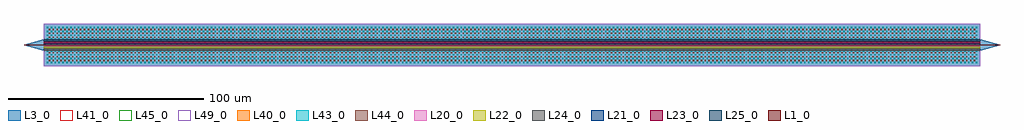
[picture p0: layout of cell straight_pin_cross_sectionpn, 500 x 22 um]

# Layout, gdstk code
from math import pi, radians
import gdstk
lib = gdstk.Library(unit=1e-6, precision=1e-09)
def R(c, l, rs):  # rectangles x0, y0, x1, y1
    for r in rs: c.add(gdstk.rectangle(r[:2], r[2:], *l))
def P(c, l, *ps):  # polygons
    for p in ps: c.add(gdstk.Polygon(p, *l))
L1_0 = (1, 0)
L3_0 = (3, 0)
L20_0 = (20, 0)
L21_0 = (21, 0)
L22_0 = (22, 0)
L23_0 = (23, 0)
L24_0 = (24, 0)
L25_0 = (25, 0)
L40_0 = (40, 0)
L41_0 = (41, 0)
L43_0 = (43, 0)
L44_0 = (44, 0)
L45_0 = (45, 0)
L49_0 = (49, 0)

straight_cross_sectionp_ = lib.new_cell('straight_cross_sectionp_dc3acd5e')
R(straight_cross_sectionp_, L1_0, [(0,-0.25,480,0.25)])
R(straight_cross_sectionp_, L3_0, [(0,-3,480,3)])
R(straight_cross_sectionp_, L20_0, [(0,-1,480,0)])
R(straight_cross_sectionp_, L21_0, [(0,0,480,1)])
R(straight_cross_sectionp_, L22_0, [(0,-2,480,-1)])
R(straight_cross_sectionp_, L23_0, [(0,1,480,2)])
R(straight_cross_sectionp_, L24_0, [(0,-3,480,-2)])
R(straight_cross_sectionp_, L25_0, [(0,2,480,3)])

taper_strip_to_ridge = lib.new_cell('taper_strip_to_ridge')
R(taper_strip_to_ridge, L1_0, [(0,-0.25,10,0.25)])
P(taper_strip_to_ridge, L3_0, [(0,0.075),(10,3),(10,-3),(0,-0.075)])

rectangle_layer3_0_size4 = lib.new_cell('rectangle_layer3_0_size480_10')
R(rectangle_layer3_0_size4, L3_0, [(0,0,480,10)])

compass_layer3_0_size480 = lib.new_cell('compass_layer3_0_size480_10')
compass_layer3_0_size480.add(gdstk.Reference(rectangle_layer3_0_size4, (-240,-5)))

rectangle_layer41_0_size = lib.new_cell('rectangle_layer41_0_size480_10')
R(rectangle_layer41_0_size, L41_0, [(0,0,480,10)])

compass_layer41_0_size48 = lib.new_cell('compass_layer41_0_size480_10')
compass_layer41_0_size48.add(gdstk.Reference(rectangle_layer41_0_size, (-240,-5)))

rectangle_layer45_0_size = lib.new_cell('rectangle_layer45_0_size480_10')
R(rectangle_layer45_0_size, L45_0, [(0,0,480,10)])

compass_layer45_0_size48 = lib.new_cell('compass_layer45_0_size480_10')
compass_layer45_0_size48.add(gdstk.Reference(rectangle_layer45_0_size, (-240,-5)))

rectangle_layer49_0_size = lib.new_cell('rectangle_layer49_0_size480_10')
R(rectangle_layer49_0_size, L49_0, [(0,0,480,10)])

compass_layer49_0_size48 = lib.new_cell('compass_layer49_0_size480_10')
compass_layer49_0_size48.add(gdstk.Reference(rectangle_layer49_0_size, (-240,-5)))

via_layer40_0 = lib.new_cell('via_layer40_0')
R(via_layer40_0, L40_0, [(-0.35,-0.35,0.35,0.35)])

via_enclosure2_layer44_0 = lib.new_cell('via_enclosure2_layer44_0')
R(via_enclosure2_layer44_0, L44_0, [(-0.35,-0.35,0.35,0.35)])

via_layer43_0 = lib.new_cell('via_layer43_0')
R(via_layer43_0, L43_0, [(-0.35,-0.35,0.35,0.35)])

via_stack_layers3_0_41__ = lib.new_cell('via_stack_layers3_0_41__6ca09173')
via_stack_layers3_0_41__.add(gdstk.Reference(compass_layer3_0_size480, (0,0)))
via_stack_layers3_0_41__.add(gdstk.Reference(compass_layer41_0_size48, (0,0)))
via_stack_layers3_0_41__.add(gdstk.Reference(compass_layer45_0_size48, (0,0)))
via_stack_layers3_0_41__.add(gdstk.Reference(compass_layer49_0_size48, (0,0)))
r = gdstk.Reference(via_layer40_0, (-238,-3)); r.repetition = gdstk.Repetition(239, 4, v1=(2,0), v2=(0,2)); via_stack_layers3_0_41__.add(r)
r = gdstk.Reference(via_enclosure2_layer44_0, (-237,-2)); r.repetition = gdstk.Repetition(238, 3, v1=(2,0), v2=(0,2)); via_stack_layers3_0_41__.add(r)
r = gdstk.Reference(via_layer43_0, (-238,-3)); r.repetition = gdstk.Repetition(239, 4, v1=(2,0), v2=(0,2)); via_stack_layers3_0_41__.add(r)

straight_pin_cross_secti = lib.new_cell('straight_pin_cross_sectionpn')
straight_pin_cross_secti.add(gdstk.Reference(straight_cross_sectionp_, (0,0)))
straight_pin_cross_secti.add(gdstk.Reference(taper_strip_to_ridge, (-10,0)))
straight_pin_cross_secti.add(gdstk.Reference(taper_strip_to_ridge, (490,0), rotation=pi))
straight_pin_cross_secti.add(gdstk.Reference(via_stack_layers3_0_41__, (240,6)))
straight_pin_cross_secti.add(gdstk.Reference(via_stack_layers3_0_41__, (240,-6)))

lib.write_gds('straight_pin_cross_sectionpn.gds')
